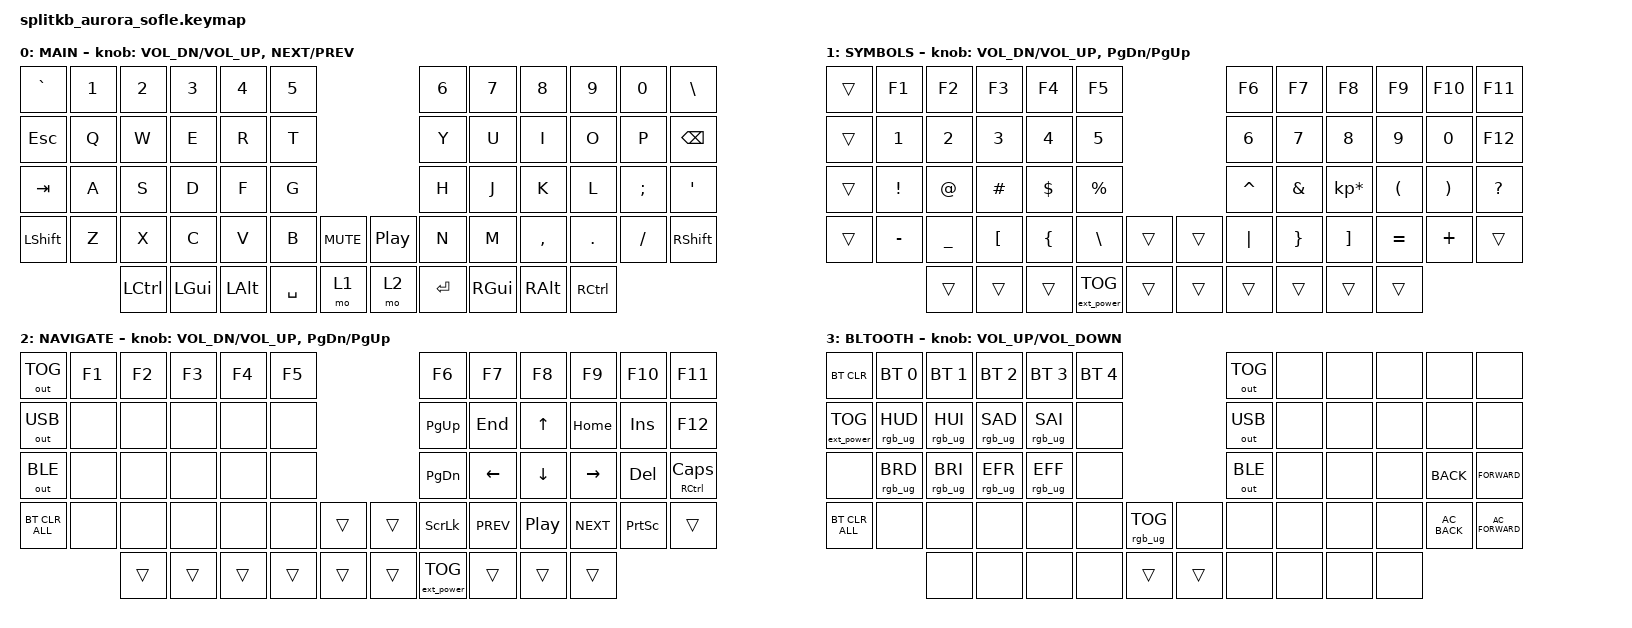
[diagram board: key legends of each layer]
/*
 * Copyright (c) 2020 The ZMK Contributors
 *
 * SPDX-License-Identifier: MIT
 */

#include <behaviors.dtsi>
#include <dt-bindings/zmk/bt.h>
#include <dt-bindings/zmk/ext_power.h>
#include <dt-bindings/zmk/keys.h>
#include <dt-bindings/zmk/outputs.h>
#include <dt-bindings/zmk/rgb.h>

#define BASE   0
#define LOWER  1
#define RAISE  2
#define ADJUST 3

// Uncomment this block if using RGB
&led_strip {
    chain-length = <6>;
    chain-length = <35>; // Uncomment if using both per-key and underglow LEDs
    // chain-length = <29>; // Uncomment if using only per-key LEDs.
};

/ {
    // Activate ADJUST layer by pressing raise and lower

    conditional_layers {
        compatible = "zmk,conditional-layers";

        adjust_layer {
            if-layers = <1 2>;
            then-layer = <3>;
        };
    };

    keymap {
        compatible = "zmk,keymap";

        main_layer {
            display-name = "MAIN";

            // ------------------------------------------------------------------------------------------------------------
            // |  `/\  |  1  |  2   |  3   |   4   |   5   |                      |   6   |   7   |   8   |  9   |  0  |  \/~  |
            // |  ESC  |  Q  |  W   |  E   |   R   |   T   |                      |   Y   |   U   |   I   |  O   |  P  | BKSPC |
            // |  TAB  |  A  |  S   |  D   |   F   |   G   |                      |   H   |   J   |   K   |  L   |  ;  |  '/º  |
            // | SHIFT |  Z  |  X   |  C   |   V   |   B   |   MUTE  |  |  PLAY   |   N   |   M   |   ,   |  .   |  /  | SHIFT |
            //               | CTRL | ALT  |  GUI  | SPACE | LOWER/[ |  | RAISE/] | ENTER |  GUI  |  ALT  | CTRL |

            bindings = <
&kp GRAVE  &kp N1  &kp N2     &kp N3    &kp N4    &kp N5                           &kp N6   &kp N7    &kp N8     &kp N9     &kp N0    &kp BSLH
&kp ESC    &kp Q   &kp W      &kp E     &kp R     &kp T                            &kp Y    &kp U     &kp I      &kp O      &kp P     &kp BSPC
&kp TAB    &kp A   &kp S      &kp D     &kp F     &kp G                            &kp H    &kp J     &kp K      &kp L      &kp SEMI  &kp SQT
&kp LSHFT  &kp Z   &kp X      &kp C     &kp V     &kp B      &kp C_MUTE  &kp C_PP  &kp N    &kp M     &kp COMMA  &kp DOT    &kp FSLH  &kp RSHFT
                   &kp LCTRL  &kp LGUI  &kp LALT  &kp SPACE  &mo 1       &mo 2     &kp RET  &kp RGUI  &kp RALT   &kp RCTRL
            >;

            // sensor-bindings = <&inc_dec_kp C_VOL_DN C_VOL_UP &inc_dec_kp PG_DN PG_UP>;
            sensor-bindings = <&inc_dec_kp C_VOL_DN C_VOL_UP &inc_dec_kp C_NEXT C_PREV>;
        };

        symbols_layer {
            display-name = "SYMBOLS";

            // ------------------------------------------------------------------------------------------------------------
            // |       |  F1 |  F2 |  F3  |  F4  |  F5  |                   |  F6  |  F7   |  F8   |  F9  |  F10  |  F11  |
            // |       |   1 |   2 |   3  |   4  |   5  |                   |   6  |   7   |   8   |   9  |    0  |  F12  |
            // |       |  !  |  @  |  #   |  $   |  %   |                   |  ^   |  &    |  *    |  (   |   )   |   ª   |
            // |       |  -  |  _  |  [   |  {   |  \   |        |  |       |  |   |  }    |  ]    |  =   |   +   |       |
            //               |     |      |      |      |        |  |       |      |       |       |      |

            bindings = <
&trans  &kp F1     &kp F2     &kp F3    &kp F4    &kp F5                             &kp F6     &kp F7    &kp F8           &kp F9     &kp F10   &kp F11
&trans  &kp N1     &kp N2     &kp N3    &kp N4    &kp N5                             &kp N6     &kp N7    &kp N8           &kp N9     &kp N0    &kp F12
&trans  &kp EXCL   &kp AT     &kp HASH  &kp DLLR  &kp PRCNT                          &kp CARET  &kp AMPS  &kp KP_MULTIPLY  &kp LPAR   &kp RPAR  &kp QMARK
&trans  &kp MINUS  &kp UNDER  &kp LBKT  &kp LBRC  &kp BSLH           &trans  &trans  &kp PIPE   &kp RBRC  &kp RBKT         &kp EQUAL  &kp PLUS  &trans
                   &trans     &trans    &trans    &ext_power EP_TOG  &trans  &trans  &trans     &trans    &trans           &trans
            >;

            sensor-bindings = <&inc_dec_kp C_VOL_DN C_VOL_UP &inc_dec_kp PG_DN PG_UP>;
        };

        navigate_layer {
            display-name = "NAVIGATE";

            // ------------------------------------------------------------------------------------------------------------
            // | OUT_TOG  |  F1  |  F2  |  F3   |  F4   |  F5  |                |  F6  |  F7  |  F8   |  F9  |  F10  |  F11  |
            // | OUT_USB  |      |      |       |       |      |                | PGUP |  END |   ^   | HOME |  INS  |  F12  |
            // | OUT_BLE  |      |      |       |       |      |                | PGDN |   <- |   v   | ->   |  DEL  | C/CAPS|
            // | BTCLRALL |      |      |       |       |      |      |  |      | SCRL | PRVS | PLAY  | NEXT |  PSCR |       |
            //                   |      |       |       |      |      |  |      |      |      |       |      |

            bindings = <
&out OUT_TOG    &kp F1  &kp F2  &kp F3  &kp F4  &kp F5                  &kp F6             &kp F7      &kp F8    &kp F9      &kp F10    &kp F11
&out OUT_USB    &none   &none   &none   &none   &none                   &kp PG_UP          &kp END     &kp UP    &kp HOME    &kp INS    &kp F12
&out OUT_BLE    &none   &none   &none   &none   &none                   &kp PG_DN          &kp LEFT    &kp DOWN  &kp RIGHT   &kp DEL    &mt RCTRL CLCK
&bt BT_CLR_ALL  &none   &none   &none   &none   &none   &trans  &trans  &kp SLCK           &kp C_PREV  &kp C_PP  &kp C_NEXT  &kp PSCRN  &trans
               &trans  &trans  &trans  &trans  &trans  &trans  &ext_power EP_TOG  &trans      &trans    &trans
// &none  &kp F1  &kp F2  &kp F3  &kp F4  &kp F5                  &kp F6             &kp F7      &kp F8    &kp F9      &kp F10    &kp F11
// &none  &none   &none   &none   &none   &none                   &kp PG_UP          &kp END     &kp UP    &kp HOME    &kp INS    &kp F12
// &none  &none   &none   &none   &none   &none                   &kp PG_DN          &kp LEFT    &kp DOWN  &kp RIGHT   &kp DEL    &mt RCTRL CLCK
// &none  &none   &none   &none   &none   &none   &trans  &trans  &kp SLCK           &kp C_PREV  &kp C_PP  &kp C_NEXT  &kp PSCRN  &trans
//                &trans  &trans  &trans  &trans  &trans  &trans  &ext_power EP_TOG  &trans      &trans    &trans
            >;

            sensor-bindings = <&inc_dec_kp C_VOL_DN C_VOL_UP &inc_dec_kp PG_DN PG_UP>;
        };

        bluetooth_layer {
            display-name = "BLTOOTH";

            // ----------------------------------------------------------------------------------------------------------------------------
            // | BTCLR    |  BT1    |  BT2    |   BT3   |   BT4   |   BT5   |                  | OUT_TOG |      |       |      |       |       |
            // | EXTPWR   | RGB_HUD | RGB_HUI | RGB_SAD | RGB_SAI | RGB_EFF |                  | OUT_USB |      |       |      |       |       |
            // |          | RGB_BRD | RGB_BRI | RGB_EFR | RGB_EFF |         |                  | OUT_BLE |      |       |      |       |       |
            // | BTCLRALL |         |         |         |         |         | RGB_TOG | |      |         |      |       |      |       |       |
            //                      |         |         |         |         |         | |      |         |      |       |      |

            bindings = <
&bt BT_CLR         &bt BT_SEL 0     &bt BT_SEL 1     &bt BT_SEL 2     &bt BT_SEL 3     &bt BT_SEL 4                           &out OUT_TOG  &none  &none  &none  &none          &none
&ext_power EP_TOG  &rgb_ug RGB_HUD  &rgb_ug RGB_HUI  &rgb_ug RGB_SAD  &rgb_ug RGB_SAI  &none                                  &out OUT_USB  &none  &none  &none  &none          &none
&none              &rgb_ug RGB_BRD  &rgb_ug RGB_BRI  &rgb_ug RGB_EFR  &rgb_ug RGB_EFF  &none                                  &out OUT_BLE  &none  &none  &none  &kp K_BACK     &kp K_FORWARD
&bt BT_CLR_ALL     &none            &none            &none            &none            &none         &rgb_ug RGB_TOG  &none   &none         &none  &none  &none  &kp C_AC_BACK  &kp C_AC_FORWARD
                                    &none            &none            &none            &none         &trans           &trans  &none         &none  &none  &none
            >;

            sensor-bindings = <&inc_dec_kp K_VOLUME_UP C_VOLUME_DOWN>;
        };
    };
};
